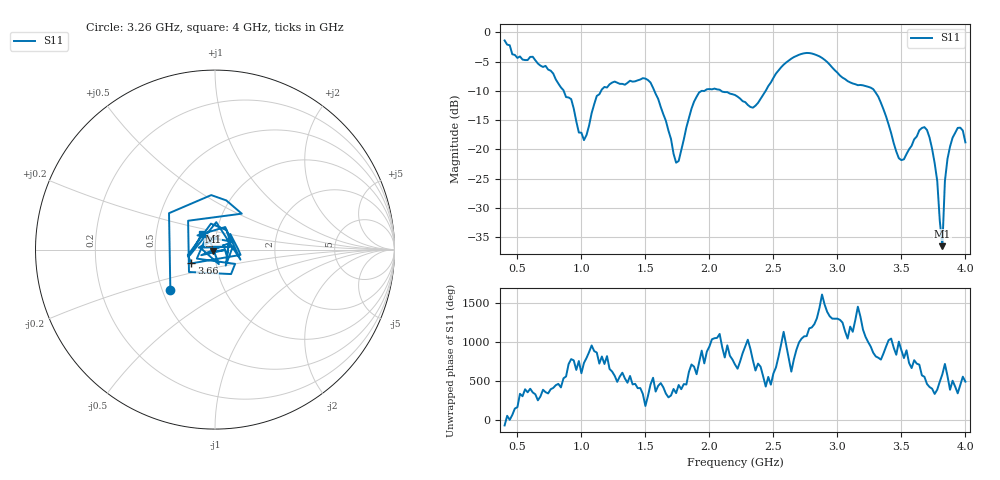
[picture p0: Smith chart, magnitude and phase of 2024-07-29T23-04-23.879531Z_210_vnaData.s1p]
!Created with skrf (http://scikit-rf.org).
# Hz S RI R 50.0
!freq ReS11 ImS11
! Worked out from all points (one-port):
!   181 points, 400 MHz to 4 GHz, reference 50 ohm
!   lowest |S11| = -36.6 dB at 3.82 GHz (marker M1), VSWR 1.03, Z = 48.9 - j1.01 ohm
!   |S11| at or under -10 dB: 1.57 GHz to 1.94 GHz (369.9 MHz wide, 21.1 % of centre); 2.092 GHz to 2.44 GHz (347.9 MHz wide, 15.4 % of centre); 3.289 GHz to end of sweep (the widest 3 of 5)
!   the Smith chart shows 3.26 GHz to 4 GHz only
!   S11 on the Smith chart (normalised r, x): 3.26 GHz: 0.55, -0.28; 3.66 GHz: 0.76, -0.12; 4 GHz: 0.85, +0.15
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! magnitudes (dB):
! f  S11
! 400 MHz  -1.4
! 860 MHz  -9.9
! 920 MHz  -11.4
! 1.02 GHz  -18.4
! 1.12 GHz  -10.9
! 1.3 GHz  -8.8
! 1.54 GHz  -8.6
! 1.76 GHz  -22.0
! 1.86 GHz  -13.1
! 1.92 GHz  -10.3
! 2.2 GHz  -10.7
! 2.34 GHz  -12.9
! 2.66 GHz  -4.2
! 2.86 GHz  -4.1
! 3.1 GHz  -8.6
! 3.26 GHz  -9.5
! 3.34 GHz  -12.1
! 3.48 GHz  -21.5
! 3.56 GHz  -20.0
! 3.66 GHz  -16.4
! 3.7 GHz  -16.7
! 3.76 GHz  -22.4
! 3.78 GHz  -25.4
! 3.82 GHz  -36.6
! 3.84 GHz  -25.4
! 3.88 GHz  -19.5
! 3.94 GHz  -16.3
! 4 GHz  -18.8
